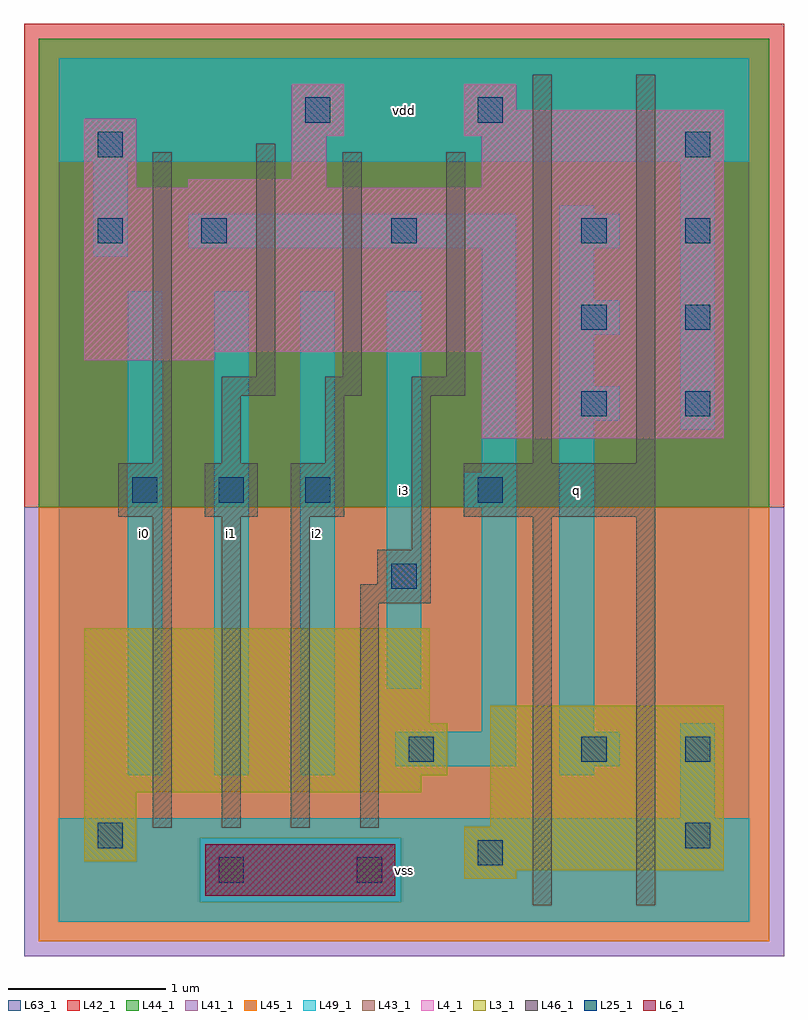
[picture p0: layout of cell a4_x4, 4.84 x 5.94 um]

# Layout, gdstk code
import gdstk
lib = gdstk.Library(unit=1e-6, precision=1e-09)
def R(c, l, rs):  # rectangles x0, y0, x1, y1
    for r in rs: c.add(gdstk.rectangle(r[:2], r[2:], *l))
def A(c, l, x, y, w, h, nx, ny, dx, dy):  # array of equal rectangles
    R(c, l, [(x+i*dx, y+j*dy, x+i*dx+w, y+j*dy+h) for i in range(nx) for j in range(ny)])
L3_1 = (3, 1)
L4_1 = (4, 1)
L6_1 = (6, 1)
L25_1 = (25, 1)
L41_1 = (41, 1)
L42_1 = (42, 1)
L43_1 = (43, 1)
L44_1 = (44, 1)
L45_1 = (45, 1)
L46_1 = (46, 1)
L49_1 = (49, 1)
L63_1 = (63, 1)

a4_x4 = lib.new_cell('a4_x4')
R(a4_x4, L3_1, [(2.585,0.275,2.915,0.33), (2.585,0.33,4.235,0.605), (0.165,0.385,0.495,0.825), (2.75,0.605,4.235,1.375), (0.165,0.825,2.31,0.935), (0.165,0.935,2.475,1.265), (0.165,1.265,2.365,1.87)])
R(a4_x4, L4_1, [(2.695,3.08,4.235,3.63), (0.165,3.575,0.99,3.63), (0.165,3.63,4.235,4.675), (0.165,4.675,0.495,5.115), (0.825,4.675,1.705,4.73), (2.695,4.675,4.235,5.005), (1.485,4.73,1.705,5.005), (1.485,5.005,1.815,5.335), (2.585,5.005,4.235,5.17), (2.585,5.17,2.915,5.335)])
R(a4_x4, L6_1, [(0.935,0.165,2.145,0.495)])
A(a4_x4, L25_1, 0.47, 2.67, 0.16, 0.16, 3, 1, 0.55, 0)
A(a4_x4, L25_1, 3.99, 3.22, 0.16, 0.16, 1, 4, 0, 0.55)
A(a4_x4, L25_1, 0.91, 4.32, 0.16, 0.16, 3, 1, 1.21, 0)
R(a4_x4, L25_1, [(1.02,0.25,1.18,0.41), (1.9,0.25,2.06,0.41), (2.67,0.36,2.83,0.52), (0.25,0.47,0.41,0.63), (3.99,0.47,4.15,0.63), (2.23,1.02,2.39,1.18), (3.33,1.02,3.49,1.18), (3.99,1.02,4.15,1.18), (2.12,2.12,2.28,2.28), (2.67,2.67,2.83,2.83), (3.33,3.22,3.49,3.38), (3.33,3.77,3.49,3.93), (0.25,4.32,0.41,4.48), (0.25,4.87,0.41,5.03), (1.57,5.09,1.73,5.25), (2.67,5.09,2.83,5.25)])
R(a4_x4, L41_1, [(-0.22,-0.22,4.62,2.64)])
R(a4_x4, L42_1, [(-0.22,2.64,4.62,5.72)])
R(a4_x4, L43_1, [(0.935,0.165,2.145,0.495), (2.585,0.275,2.915,0.33), (2.585,0.33,4.235,0.605), (0.165,0.385,0.495,0.825), (2.75,0.605,4.235,1.375), (0.165,0.825,2.31,0.935), (0.165,0.935,2.475,1.265), (0.165,1.265,2.365,1.87), (2.695,3.08,4.235,3.63), (0.165,3.575,0.99,3.63), (0.165,3.63,4.235,4.675), (0.165,4.675,0.495,5.115), (0.825,4.675,1.705,4.73), (2.695,4.675,4.235,5.005), (1.485,4.73,1.705,5.005), (1.485,5.005,1.815,5.335), (2.585,5.005,4.235,5.17), (2.585,5.17,2.915,5.335)])
R(a4_x4, L44_1, [(0.895,0.125,2.185,0.535), (-0.125,2.64,4.525,5.625)])
R(a4_x4, L45_1, [(-0.125,-0.125,4.525,0.125), (-0.125,0.125,0.895,0.535), (2.185,0.125,4.525,0.535), (-0.125,0.535,4.525,2.64)])
A(a4_x4, L46_1, 0.6, 0.6, 0.12, 1.98, 3, 1, 0.44, 0)
A(a4_x4, L46_1, 0.38, 2.58, 0.34, 0.34, 3, 1, 0.55, 0)
R(a4_x4, L46_1, [(3.02,0.105,3.14,2.58), (3.68,0.105,3.8,2.58), (1.92,0.6,2.04,2.03), (1.92,2.03,2.37,2.15), (2.03,2.15,2.37,2.37), (2.25,2.37,2.37,3.35), (2.58,2.58,3.8,2.92), (0.6,2.92,0.72,4.9), (1.04,2.92,1.16,3.35), (1.7,2.92,1.82,3.35), (3.02,2.92,3.14,5.395), (3.68,2.92,3.8,5.395), (1.04,3.35,1.38,3.47), (1.7,3.35,1.93,3.47), (2.25,3.35,2.59,3.47), (1.26,3.47,1.38,4.955), (1.81,3.47,1.93,4.9), (2.47,3.47,2.59,4.9)])
A(a4_x4, L49_1, 0.44, 0.935, 0.22, 3.08, 3, 1, 0.55, 0)
A(a4_x4, L49_1, 3.19, 3.19, 0.385, 0.22, 1, 3, 0, 0.55)
R(a4_x4, L49_1, [(0,0,4.4,0.66), (3.96,0.66,4.18,1.265), (3.19,0.935,3.41,0.99), (2.145,0.99,2.915,1.21), (3.19,0.99,3.575,1.21), (2.695,1.21,2.915,2.64), (3.19,1.21,3.41,3.19), (2.09,1.485,2.31,4.015), (2.585,2.64,2.915,2.86), (2.695,2.86,2.915,4.29), (3.96,3.135,4.18,4.84), (3.19,3.41,3.41,3.74), (3.19,3.96,3.41,4.29), (0.22,4.235,0.44,4.84), (0.825,4.29,2.915,4.51), (3.19,4.51,3.41,4.565), (0,4.84,4.4,5.5)])
R(a4_x4, L63_1, [(0,0,4.4,5.5)])
a4_x4.add(gdstk.Label('i0', (0.55,2.475), layer=49, texttype=1))
a4_x4.add(gdstk.Label('i1', (1.1,2.475), layer=49, texttype=1))
a4_x4.add(gdstk.Label('i2', (1.65,2.475), layer=49, texttype=1))
a4_x4.add(gdstk.Label('vss', (2.2,0.33), layer=49, texttype=1))
a4_x4.add(gdstk.Label('i3', (2.2,2.75), layer=49, texttype=1))
a4_x4.add(gdstk.Label('vdd', (2.2,5.17), layer=49, texttype=1))
a4_x4.add(gdstk.Label('q', (3.3,2.75), layer=49, texttype=1))

lib.write_gds('a4_x4.gds')
